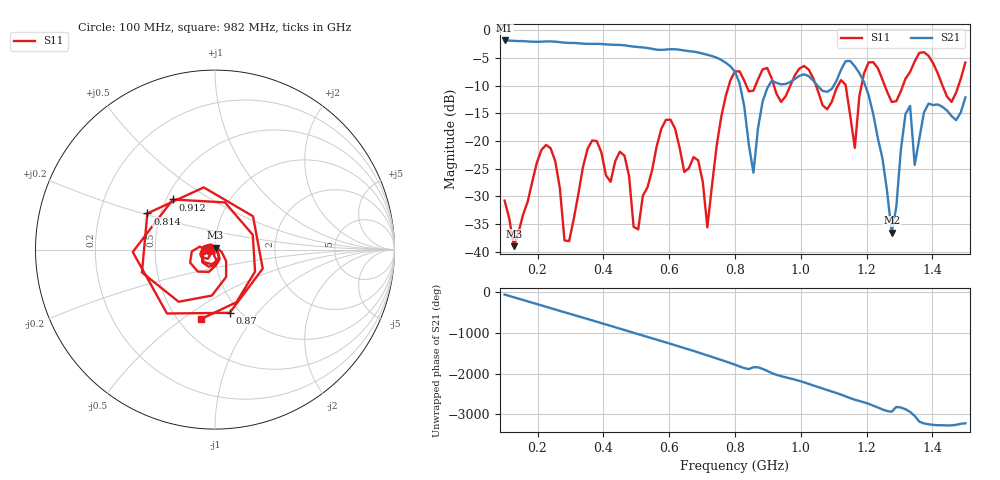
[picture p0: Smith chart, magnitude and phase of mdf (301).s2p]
! NanoVNA-App
! Date: 2025-09-25 15:40:46
! Start: 100MHz Stop: 1,5GHz Points: 101
! S-Parameter data: F S11 S21 S12 S22
# Hz S RI R 50
!  Frequency  S11_Real  S11_Imag  S21_Real  S21_Imag  S12_Real  S12_Imag  S22_Real  S22_Imag
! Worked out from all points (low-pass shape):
!   101 points, 100 MHz to 1.5 GHz, reference 50 ohm
!   highest |S21| = -1.80 dB at 100 MHz (marker M1); lowest = -36.5 dB at 1.276 GHz (marker M2)
!   |S21| within 3 dB of the highest: start of sweep to 739.1 MHz
!   lowest |S11| = -39.0 dB at 128 MHz (marker M3), VSWR 1.02, Z = 50.3 + j1.08 ohm
!   |S11| at or under -10 dB: start of sweep to 781.1 MHz; 1.046 GHz to 1.113 GHz (66.32 MHz wide, 6.14 % of centre); 1.255 GHz to 1.31 GHz (54.71 MHz wide, 4.27 % of centre) (the widest 3 of 7)
!   S12 and S22 are empty: the file has one direction only
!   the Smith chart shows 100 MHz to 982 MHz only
!   S11 on the Smith chart (normalised r, x): 100 MHz: 0.94, -0.01; 814 MHz: 0.42, +0.21; 870 MHz: 0.90, -0.73; 912 MHz: 0.54, +0.35; 982 MHz: 0.64, -0.59
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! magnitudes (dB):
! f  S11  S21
! 100 MHz  -30.7  -1.8
! 128 MHz  -39.0  -1.9
! 212 MHz  -21.6  -2.0
! 282 MHz  -37.9  -2.2
! 338 MHz  -24.7  -2.4
! 464 MHz  -22.6  -2.7
! 506 MHz  -35.9  -3.0
! 576 MHz  -17.8  -3.5
! 716 MHz  -35.6  -4.4
! 800 MHz  -7.4  -7.5
! 814 MHz  -7.4  -9.6
! 856 MHz  -10.9  -25.7
! 870 MHz  -8.8  -17.6
! 912 MHz  -8.8  -9.0
! 982 MHz  -8.1  -8.8
! 1.038 GHz  -8.7  -9.1
! 1.164 GHz  -21.2  -6.5
! 1.178 GHz  -11.8  -7.7
! 1.276 GHz  -12.9  -36.5
! 1.318 GHz  -8.7  -15.1
! 1.346 GHz  -5.6  -24.3
! 1.5 GHz  -5.8  -12.1
